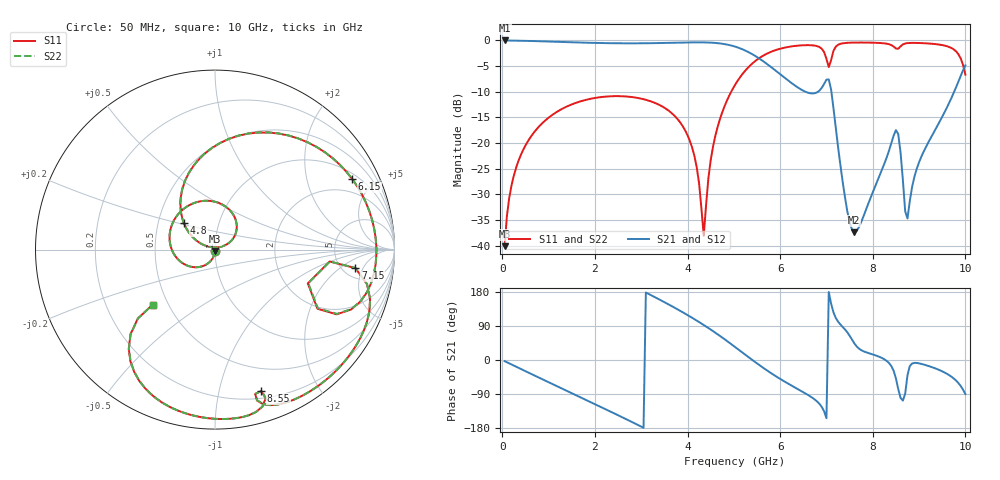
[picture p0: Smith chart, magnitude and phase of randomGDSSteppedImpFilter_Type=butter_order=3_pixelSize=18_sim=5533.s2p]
! freq	dB(S11)	phase(S11)	dB(S12)	phase(S12)
!  dB(S21)	phase(S21)	dB(S22)	phase(S22)
!S-par simulation data
#  GHz  S  DB  R 50
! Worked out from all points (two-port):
!   200 points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, 50 MHz to 10 GHz, reference 50 ohm
!   highest |S21| = -0.01 dB at 50 MHz (marker M1); lowest = -37.4 dB at 7.6 GHz (marker M2)
!   |S21| within 3 dB of the highest: start of sweep to 5.459 GHz
!   lowest |S11| = -40.1 dB at 50 MHz (marker M3), VSWR 1.02, Z = 50 - j0.987 ohm
!   |S11| at or under -10 dB: start of sweep to 4.943 GHz
!   |S22| runs from -40.1 to -0.4 dB; largest |S21 - S12| = 0
!   S11 on the Smith chart (normalised r, x): 50 MHz: 1.00, -0.02; 4.8 GHz: 0.68, +0.21; 6.15 GHz: 1.24, +3.75; 7.15 GHz: 6.50, -3.55; 8.55 GHz: 0.27, -1.35; 10 GHz: 0.41, -0.32
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0.05  -40.10 -92.0  -0.01 -3.0  -0.01 -3.0  -40.10 -92.0
0.2  -28.22 -101.6  -0.03 -11.9  -0.03 -11.9  -28.22 -101.6
0.5  -20.48 -119.9  -0.08 -29.5  -0.08 -29.5  -20.48 -119.9
1.75  -11.71 167.1  -0.43 -102.1  -0.43 -102.1  -11.71 167.2
2.65  -10.91 114.7  -0.57 -154.6  -0.57 -154.6  -10.91 114.7
3.4  -12.61 69.1  -0.51 159.1  -0.51 159.1  -12.61 69.2
4.1  -20.91 26.3  -0.38 111.4  -0.38 111.4  -20.91 26.2
4.35  -38.07 92.0  -0.38 92.4  -0.38 92.4  -38.27 92.0
4.5  -23.35 157.7  -0.43 80.4  -0.43 80.4  -23.36 158.1
4.8  -12.81 139.5  -0.72 54.8  -0.72 54.8  -12.82 139.7
5.05  -8.31 118.2  -1.27 32.2  -1.27 32.2  -8.31 118.4
5.6  -3.14 69.5  -3.84 -17.7  -3.84 -17.7  -3.15 69.7
6.15  -1.31 27.2  -7.65 -60.8  -7.65 -60.8  -1.31 27.4
6.7  -0.96 -8.7  -10.34 -100.0  -10.34 -100.0  -0.96 -8.5
7.05  -5.19 -20.0  -7.60 179.5  -7.60 179.5  -5.16 -19.8
7.15  -2.06 -7.5  -13.12 126.0  -13.12 126.0  -2.05 -7.4
7.6  -0.42 -39.1  -37.37 44.3  -37.37 44.3  -0.42 -38.9
8.35  -0.74 -70.7  -21.50 -7.9  -21.50 -7.9  -0.74 -70.5
8.55  -1.63 -71.9  -18.26 -76.8  -18.26 -76.8  -1.63 -71.7
8.75  -0.52 -78.3  -34.71 -39.7  -34.71 -39.7  -0.52 -78.2
9.55  -1.00 -111.7  -14.00 -33.0  -14.00 -33.0  -1.00 -111.6
10  -6.67 -138.6  -4.86 -89.9  -4.86 -89.9  -6.68 -138.5
